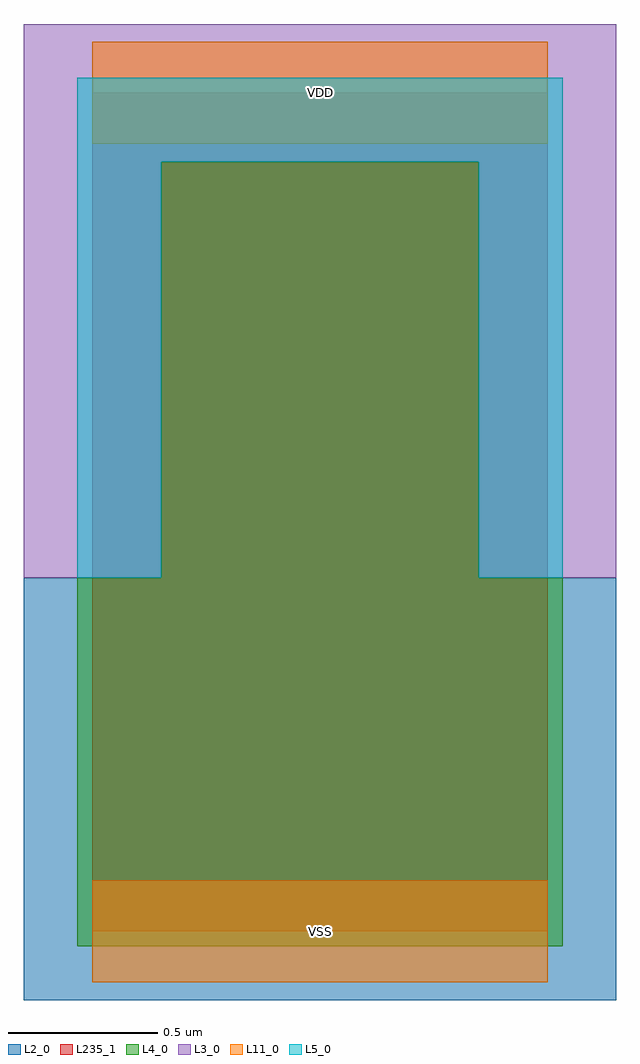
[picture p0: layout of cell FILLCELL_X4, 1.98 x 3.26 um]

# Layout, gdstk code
import gdstk
lib = gdstk.Library(unit=1e-6, precision=1e-09)
def R(c, l, rs):  # rectangles x0, y0, x1, y1
    for r in rs: c.add(gdstk.rectangle(r[:2], r[2:], *l))
def P(c, l, *ps):  # polygons
    for p in ps: c.add(gdstk.Polygon(p, *l))
L2_0 = (2, 0)
L3_0 = (3, 0)
L4_0 = (4, 0)
L5_0 = (5, 0)
L11_0 = (11, 0)
L235_1 = (235, 1)

fillcell_x4 = lib.new_cell('FILLCELL_X4')
P(fillcell_x4, L2_0, [(-0.23,-0.23),(1.75,-0.23),(1.75,1.18),(1.29,1.18),(1.29,2.57),(0.23,2.57),(0.23,1.18),(-0.23,1.18)])
P(fillcell_x4, L3_0, [(-0.23,1.18),(0.23,1.18),(0.23,2.57),(1.29,2.57),(1.29,1.18),(1.75,1.18),(1.75,3.03),(-0.23,3.03)])
P(fillcell_x4, L4_0, [(-0.05,-0.05),(1.57,-0.05),(1.57,1.18),(1.29,1.18),(1.29,2.57),(0.23,2.57),(0.23,1.18),(-0.05,1.18)])
P(fillcell_x4, L5_0, [(-0.05,1.18),(0.23,1.18),(0.23,2.57),(1.29,2.57),(1.29,1.18),(1.57,1.18),(1.57,2.85),(-0.05,2.85)])
R(fillcell_x4, L11_0, [(0,-0.17,1.52,0.17), (0,-0.17,1.52,0.17), (0,2.63,1.52,2.97), (0,2.63,1.52,2.97)])
R(fillcell_x4, L235_1, [(0,0,1.52,2.8)])
fillcell_x4.add(gdstk.Label('VSS', (0.76,0), layer=11, texttype=0))
fillcell_x4.add(gdstk.Label('VDD', (0.76,2.8), layer=11, texttype=0))

lib.write_gds('FILLCELL_X4.gds')
